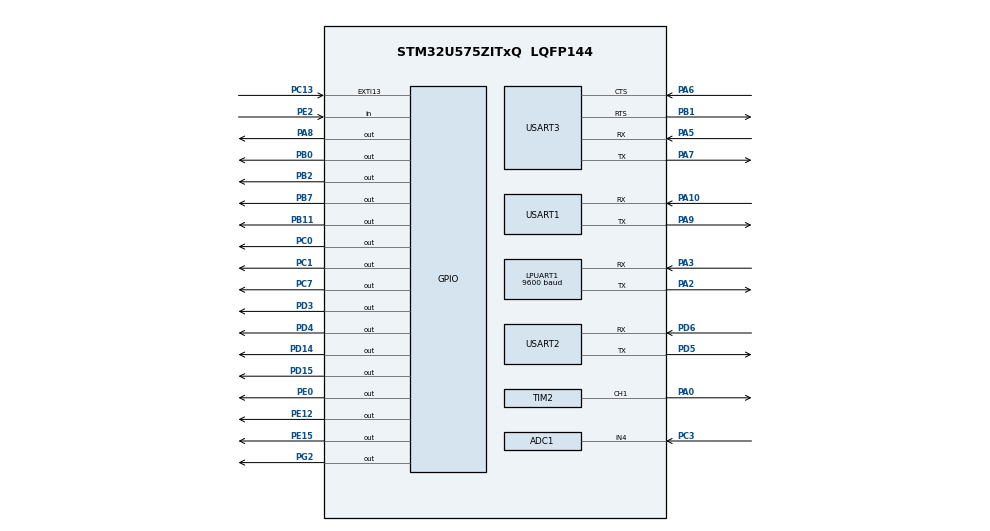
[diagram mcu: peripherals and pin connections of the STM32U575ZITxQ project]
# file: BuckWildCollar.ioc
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ADC1.Channel-1\#ChannelRegularConversion=ADC_CHANNEL_4
ADC1.ContinuousConvMode=ENABLE
ADC1.EnableRegularConversion=ENABLE
ADC1.GainCompensation=0
ADC1.MonitoredBy-1\#ChannelRegularConversion=__NULL
ADC1.NbrOfConversion=1
ADC1.NbrOfConversionFlag=1
ADC1.OffsetNumber-1\#ChannelRegularConversion=ADC_OFFSET_NONE
ADC1.Rank-1\#ChannelRegularConversion=1
ADC1.SamplingTime-1\#ChannelRegularConversion=ADC_SAMPLETIME_5CYCLE
ADC1.master=1
CORTEX_M33_NS.userName=CORTEX_M33
LPUART1.BaudRate=9600
Mcu.Family=STM32U5
Mcu.Name=STM32U575ZITxQ
Mcu.Package=LQFP144
NUCLEO-U575ZI-Q.BUTTON=1
NUCLEO-U575ZI-Q.LD1=true
NUCLEO-U575ZI-Q.LD2=true
NUCLEO-U575ZI-Q.LD3=true
NUCLEO-U575ZI-Q.VCP=false
NVIC.ADC1_IRQn=true\:0\:0\:false\:false\:true\:true\:true\:true
NVIC.EXTI13_IRQn=true\:0\:0\:false\:false\:true\:false\:true\:true
NVIC.LPUART1_IRQn=true\:0\:0\:false\:false\:true\:true\:true\:true
NVIC.PriorityGroup=NVIC_PRIORITYGROUP_3
NVIC.TIM17_IRQn=true\:7\:0\:false\:false\:true\:false\:true\:true
NVIC.TIM2_IRQn=true\:0\:0\:false\:false\:true\:true\:true\:true
NVIC.TimeBase=TIM17_IRQn
NVIC.TimeBaseIP=TIM17
NVIC.USART1_IRQn=true\:0\:0\:false\:false\:true\:true\:true\:true
NVIC.USART2_IRQn=true\:0\:0\:false\:false\:true\:true\:true\:true
NVIC.USART3_IRQn=true\:0\:0\:false\:false\:true\:true\:true\:true
PA0.Signal=S_TIM2_CH1
PA10.Mode=Asynchronous
PA10.Signal=USART1_RX
PA13\ (JTMS/SWDIO).Signal=DEBUG_JTMS-SWDIO
PA14\ (JTCK/SWCLK).Signal=DEBUG_JTCK-SWCLK
PA2.Mode=Asynchronous
PA2.Signal=LPUART1_TX
PA3.Mode=Asynchronous
PA3.Signal=LPUART1_RX
PA5.Mode=Asynchronous
PA5.Signal=USART3_RX
PA6.Mode=CTS_RTS
PA6.Signal=USART3_CTS
PA7.Mode=Asynchronous
PA7.Signal=USART3_TX
PA8.Signal=GPIO_Output
PA9.Mode=Asynchronous
PA9.Signal=USART1_TX
PB0.Signal=GPIO_Output
PB1.Mode=CTS_RTS
PB1.Signal=USART3_RTS
PB11.Signal=GPIO_Output
PB2.Signal=GPIO_Output
PB3\ (JTDO/TRACESWO).Signal=DEBUG_JTDO-SWO
PB7.Signal=GPIO_Output
PC0.Signal=GPIO_Output
PC1.Signal=GPIO_Output
PC13.Signal=GPXTI13
PC14-OSC32_IN\ (PC14).Signal=RCC_OSC32_IN
PC15-OSC32_OUT\ (PC15).Signal=RCC_OSC32_OUT
PC3.Mode=IN4-Single-Ended
PC3.Signal=ADC1_IN4
PC7.Signal=GPIO_Output
PD14.Signal=GPIO_Output
PD15.Signal=GPIO_Output
PD3.Signal=GPIO_Output
PD4.Signal=GPIO_Output
PD5.Mode=Asynchronous
PD5.Signal=USART2_TX
PD6.Mode=Asynchronous
PD6.Signal=USART2_RX
PE0.Signal=GPIO_Output
PE12.Signal=GPIO_Output
PE15.Signal=GPIO_Output
PE2.Signal=GPIO_Input
PG2.Signal=GPIO_Output
PWR.PowerMode=PWR_SMPS_SUPPLY
ProjectManager.HeapSize=0x200
ProjectManager.StackSize=0x400
ProjectManager.TargetToolchain=STM32CubeIDE
RCC.ADCFreq_Value=16000000
RCC.DACCLockSelectionVirtual=RCC_DAC1CLKSOURCE_LSI
RCC.EPOD_VALUE=4000000
RCC.HSE_VALUE=16000000
RCC.HSI48_VALUE=48000000
RCC.HSI_VALUE=16000000
RCC.LSE_VALUE=32768
RCC.LSIDIV_VALUE=32000
RCC.MSI_VALUE=4000000
RCC.USBFreq_Value=48000000
RCC.VCOOutputFreq_Value=516000000
SH.S_TIM2_CH1.0=TIM2_CH1,PWM Generation1 CH1
TIM2.Channel-PWM\ Generation1\ CH1=TIM_CHANNEL_1
TIM2.PeriodNoDither=2000
TIM2.Prescaler=1
TIM2.PulseNoDither_1=1000
USART1.VirtualMode-Asynchronous=VM_ASYNC
USART2.VirtualMode-Asynchronous=VM_ASYNC
USART3.VirtualMode-Asynchronous=VM_ASYNC
VP_ICACHE_VS_ENABLE_ICACHE_MEMORY.Mode=Memoryregions
VP_ICACHE_VS_ICACHE.Mode=DirectMappedCache
VP_LPBAMQUEUE_VS_QUEUE.Mode=QUEUEMODE
VP_LPBAM_VS_SIG1.Mode=SmartRun
VP_LPBAM_VS_SIG4.Mode=LPDMA1
VP_MEMORYMAP_VS_MEMORYMAP.Mode=CurAppReg
VP_NUCLEO-U575ZI-Q_VS_BSP_COMMON.Mode=COMMON
VP_PWR_VS_DBSignals.Mode=DisableDeadBatterySignals
VP_PWR_VS_LPOM.Mode=PowerOptimisation
VP_PWR_VS_SECSignals.Mode=Security/Privilege
VP_PWR_Vdda.Mode=isolationVdda
VP_SYS_VS_tim17.Mode=TIM17
VP_TIM2_VS_ClockSourceINT.Mode=Internal
board=NUCLEO-U575ZI-Q

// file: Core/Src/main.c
/* USER CODE BEGIN Header */

/*
 *
 * BUCK WILD COLLAR
 * buckwildcollars.com
 *
 *
 * Perpetrators:
 * Paul Eickhoff
 *
 */

/* USER CODE END Header */
#include "main.h"
#include "adc.h"
#include "icache.h"
#include "usart.h"
#include "tim.h"
#include "gpio.h"

/* USER CODE BEGIN Includes */

#include <math.h>
#include <stdarg.h>
#include <stdbool.h>
#include <stdint.h>
#include <stdio.h>
#include <stdlib.h>
#include <string.h>

#include <m_motor.h>

// UART Buffers
#define BUFFER_SIZE 128
#define UART_DELAY 10
#define UART_GPS_DELAY 1000

// GPS
#define RX_LINE_MAX 128
#define RX_QUEUE_LINES 16
#define MIN_GPS_SIGNALS 3

#define MAX_FORCE 12000
#define MIN_FORCE 5000
#define IDEAL_FORCE 9000
#define IDEAL_BOUNDS 2000

static uint8_t rx_byte;

static char build_line[RX_LINE_MAX];
static uint16_t build_idx = 0;

static char line_q[RX_QUEUE_LINES][RX_LINE_MAX];
static volatile uint8_t q_head = 0, q_tail = 0;

static volatile uint32_t lines_ok = 0;
static volatile uint32_t lines_drop = 0;

typedef struct {
    char utc[16];
    char prev_utc[16];
    char dmy[16];
    float lat;
    float lon;
    int sats;
    float hdop;
    int valid;
} gps_data_t;

static gps_data_t gps;

// END GPS

typedef enum{
	init,
	gps_receive,
	imu_receive,
	force_receive,
	motor_control,
	gps_transmit,
	sleep
} active_state;

struct bno055{
	int eul_x, eul_y, eul_z;
	int lin_x, lin_y, lin_z;
	int mag_x, mag_y, mag_z;
	int temperature;
};

/*
 * UART Buffers (The Flash Devourers!)
 */

char user_command[BUFFER_SIZE] = "menu";

uint8_t storage_buffer[BUFFER_SIZE] = "Initial Storage Buffer.";
const uint8_t empty_buffer[BUFFER_SIZE] = ""; // Used to clear buffers with memcpy. Also is an "impostor buffer".
uint8_t return_buffer[1] = "\0";
uint8_t return_buffer_flag = 0;

uint8_t uart1_tx_buffer[BUFFER_SIZE] = "Initial TX1 String\r\n";
uint8_t uart1_rx_buffer[BUFFER_SIZE] = "menu"; // "Initial RX1 String\r\n";
uint8_t uart2_tx_buffer[BUFFER_SIZE] = "Initial TX2 String\r\n";
uint8_t uart2_rx_buffer[BUFFER_SIZE] = "Initial RX2 String\r\n";
uint8_t uart3_tx_buffer[BUFFER_SIZE] = "Initial TX3 String\r\n";
uint8_t uart3_rx_buffer[BUFFER_SIZE] = "Initial RX3 String\r\n";

uint8_t lpuart1_tx_buffer[BUFFER_SIZE] = "Initial lpTX1 String\r\n";
uint8_t lpuart1_rx_buffer[BUFFER_SIZE] = "Initial lpRX1 String\r\n";

//
uint8_t user_button = 0;
uint8_t reset = 0;

// Prototypes
static void print(const char *fmt, ...);
static int Get_ADC();

static int queue_push(const char *s);
static int queue_pop(char *out);
static void parse_nmea(char *line);
static float nmea_to_deg(const char *s);

// Functions

static void print(const char *fmt, ...) {
	/*
	 * Print message through USART1 channel
	 * Viewable in the in-built CubeIDE terminal
	 *
	 * Shamelessly stolen from the Formula Hybrid team... who probably stole it from someone else.
	 */

  static char buffer[256];
  va_list args;
  va_start(args, fmt);
  vsnprintf(buffer, sizeof(buffer), fmt, args);
  va_end(args);

  int len = strlen(buffer);
  HAL_UART_Transmit(&huart1, (uint8_t *)buffer, len, -1);
  return;
}

/*
 * Force Sensor
 */

static int Get_ADC(){
	//TODO: Low Add Calibration for Max / Min
	// Get ADC value and put into global variable force_resistor

	// Enable Pin PC1
	GPIOC->ODR |= (1<<1);

	// ADC Acquire
	int adc_value;
	int force_resistor;

	HAL_ADC_Start(&hadc1); // Start polling
	HAL_ADC_PollForConversion(&hadc1, 1); // Check Timeout or switch to IT based
	adc_value = HAL_ADC_GetValue(&hadc1); // Take ADC Value
	HAL_ADC_Stop(&hadc1); // Stop polling

	force_resistor = adc_value; // TODO: Convert from adc_resistor to "resistance" value.

	GPIOC->ODR &= (0<<1); // Shut Off Pin PC1

	return force_resistor;
}

void HAL_ADC_ConvCpltCallback(ADC_HandleTypeDef *hadc) {
	return; // ADC callback for later usage
}

/*
 * Inertial Measurement Unit - BNO055
 *
 * BNO055 Notes
 * eul_x: 0->360
 * eul_y: -90->90
 * eul_z: -180->180
 * lin_x: Z-axis
 * lin_y: X-axis
 * lin_z: Y-axis
 *
 * Send Message:
 * Bytes: Start Byte, Read, Reg addr, Length
 *
 * Receive Message:
 * Bytes: ResponseByte, length, Data 1, ..., Data N - (Data 1 at Byte 3, Data N at Byte N+2)
 * REMEMBER: BNO055 is little-endian
 *
 * TODO: Clean up code and remove hard-coded test messages
 * TODO: Make the bno055 imu_read into a function
 */

void bno_enable(){
	/*
	 * Must be called to enable the BNO055 in NDOF mode
	 */
	uint8_t test_message[5];
	test_message[0] = 170;
	test_message[1] = 0x00;
	test_message[2] = 0x3D;
	test_message[3] = 0x01;
	test_message[4] = 0x0C; // xxxx1100b for NDOF selection mode.
	memcpy(uart2_tx_buffer, test_message, 5);
	// Enable BNO055
	HAL_UART_Transmit(&huart2, uart2_tx_buffer, 5, UART_DELAY);
	HAL_UART_Receive(&huart2, uart2_rx_buffer, BUFFER_SIZE, UART_DELAY);
	// HAL_UART_Transmit(&huart1, uart2_rx_buffer, BUFFER_SIZE, UART_DELAY);
	return;
}

void bno_write_units(){
	/*
	 * Write a message to the BNO055
	 * TODO: Entire Function (not necessary if we are writing 0x00 since that is reset)
	 * We should be able to initialize the test_message in one line at least
	 */
	uint8_t test_message[BUFFER_SIZE];
	test_message[0] = 170;
	test_message[1] = 0x00;
	test_message[2] = 0x3B;
	test_message[3] = 0x01;
	test_message[4] = 0b00000000;
	// 0x00 = Celsius, Degrees, DPS, m/s^2:
	// 1LSB, 16LSB, 16LSB, 100LSB
	// Pitch:
	memcpy(uart2_tx_buffer, test_message, BUFFER_SIZE);
	print("\r\n");
	HAL_UART_Transmit(&huart2, uart2_tx_buffer, 5, 10);
	HAL_UART_Receive(&huart2, uart2_rx_buffer, BUFFER_SIZE, 10);

	return;
}

uint32_t bno_read(uint8_t address){
	// Read Time @32 Bytes: ~2.5ms
	// Return 2 bytes of data
	uint8_t test_message[BUFFER_SIZE];
	uint16_t combined = 0;
	test_message[0] = 170; // 0xAA: Start Byte
	test_message[1] = 1; // 0x01: Read
	test_message[2] = address; // Register Address
	test_message[3] = 2; // Length
	memcpy(uart2_tx_buffer, test_message, BUFFER_SIZE); // Copy message to tx2 buffer

	HAL_UART_Transmit(&huart2, uart2_tx_buffer, 4, 1);
	HAL_UART_Receive(&huart2, uart2_rx_buffer, BUFFER_SIZE, 5); // Receive Data

	combined = (uart2_rx_buffer[2] << 8 | uart2_rx_buffer[3]);

// 	// Print "combined", which is the MSB and LSB put together to get the full number
//	if (combined != 0){
//		print("%d", combined);
//		print("\r\n");
//	}

//	 // Print Raw Buffer Values
//	 for (int i=0; i<BUFFER_SIZE; i++){
//		 if (uart2_rx_buffer[i] < 0x10){
//			 print("0%x", uart2_rx_buffer[i]);
//		 }
//		 else{
//			 print("%x", uart2_rx_buffer[i]);
//		 }
//	 }
//	 print("\r\n");

	memcpy(uart2_rx_buffer, empty_buffer, BUFFER_SIZE);
	return combined;
}

int bno_read_to_buffer(uint8_t *buffer, uint8_t address, uint8_t length){
	// Read Time @32 Bytes: ~2.5ms
	memcpy(buffer, empty_buffer, BUFFER_SIZE);
	uint8_t test_message[BUFFER_SIZE];
	test_message[0] = 170; // 0xAA: Start Byte
	test_message[1] = 1; // 0x01: Read
	test_message[2] = address; // Register Address
	test_message[3] = length; // Length
	memcpy(uart2_tx_buffer, test_message, BUFFER_SIZE); // Copy message to tx2 buffer

	HAL_UART_Transmit(&huart2, uart2_tx_buffer, 4, 10);
	HAL_UART_Receive(&huart2, buffer, BUFFER_SIZE, 10); // Receive Data
	if (buffer[0] == 0xEE){
		return 0;
	}
	return 1;
}

void print_hex(uint8_t *buffer, uint8_t length){
	if (buffer[0] == 0xEE){
		return; // Error Code
	}
	for (int i=0; i<length; i++){
		if (buffer[i] < 0x10){
			print("0%x", buffer[i]);
		}
		else{
			print("%x", buffer[i]);
		}
	}
}

void HAL_UART_RxCpltCallback(UART_HandleTypeDef *huart)
 {
   if (huart->Instance == LPUART1)
   {
     // Grab received byte and
     uint8_t b = rx_byte;

     // Build a line until '\n' (NMEA typical end is "\r\n")
     if (b == '\r' || b == '\n')
     {
         if (build_idx > 0)
         {
             build_line[build_idx] = '\0';

             if (queue_push(build_line))
                 lines_ok++;
             else
                 lines_drop++;

             build_idx = 0;
         }
     }
     else
     {
         if (build_idx < RX_LINE_MAX - 1)
             build_line[build_idx++] = (char)b;
         else
         {
             build_idx = 0;
             lines_drop++;
         }
     }

     // Re-arm next byte
     HAL_UART_Receive_IT(&hlpuart1, &rx_byte, 1);
   }
 }

 static int queue_push(const char *s)
 {
   uint8_t next = (uint8_t)((q_head + 1) % RX_QUEUE_LINES);
   if (next == q_tail) return 0; // full

   strncpy(line_q[q_head], s, RX_LINE_MAX);
   line_q[q_head][RX_LINE_MAX - 1] = '\0';
   q_head = next;
   return 1;
 }

 static int queue_pop(char *out)
 {
   if (q_tail == q_head) return 0; // empty

   strncpy(out, line_q[q_tail], RX_LINE_MAX);
   out[RX_LINE_MAX - 1] = '\0';
   q_tail = (uint8_t)((q_tail + 1) % RX_QUEUE_LINES);
   return 1;
 }

 static float nmea_to_deg(const char *s)
 {
     if (!s || !*s) return 0.0f;

     float v = (float)atof(s);
     int deg = (int)(v / 100.0f);
     float min = v - (deg * 100.0f);
     return deg + (min / 60.0f);
 }

 static void parse_nmea(char *line)
 {
     char *f[20] = {0};
     int n = 0;

     char *tok = strtok(line, ",");
     while (tok && n < 20) {
         f[n++] = tok;
         tok = strtok(NULL, ",");
     }

     if (n == 0) return;

     if (!strncmp(f[0], "$GNRMC", 6) || !strncmp(f[0], "$GPRMC", 6))
     {
         if (n > 6) {
             strncpy(gps.utc, f[1] ? f[1] : "", sizeof(gps.utc)-1);
             gps.utc[sizeof(gps.utc)-1] = '\0';

             strncpy(gps.dmy, f[8] ? f[8] : "", sizeof(gps.dmy)-1);
             gps.dmy[sizeof(gps.dmy)-1] = '\0';

             gps.valid = (f[2] && f[2][0] == 'A');

             gps.lat = nmea_to_deg(f[3]);
             if (f[4] && f[4][0] == 'S') gps.lat = -gps.lat;

             gps.lon = nmea_to_deg(f[5]);
             if (f[6] && f[6][0] == 'W') gps.lon = -gps.lon;
         }
     }
     else if (!strncmp(f[0], "$GNGGA", 6) || !strncmp(f[0], "$GPGGA", 6))
     {
         if (n > 8) {
             gps.sats = f[7] ? atoi(f[7]) : 0;
             gps.hdop = f[8] ? (float)atof(f[8]) : 0.0f;
         }
     }
 }

 int check_for_return(){
	 /*
	  *
	  * Allow code to run until enter is returned.
	  *
	  * CAUTION: The USART1 RX port will be in use. This works by both generating and waiting for the return signal to be an "all-in-one" command.
	  * Note: The huart1 rx port may cause issues by creating interrupts where you don't want them to be.
	  *
	  * Returns 0 if no return
	  * Returns 1 if return is detected (use in if statement to finish any processes before going back to menu)
	  */

	 // TODO: There has GOT to be a better way. Current method: setup the interrupt for the global 1-byte return buffer. Loop through code.
	 // Code comes back to return check where you can if "enter" byte is received.
	 // Perhaps using some kind of interrput from the good 'ol EXTI registers?

	 if (return_buffer[0] == '\r'){
		 return_buffer[0] = '\0'; // Reset buffer for next usage.
		 HAL_UART_AbortReceive(&huart1); // Abort UART receive to clear up the buffer.
		 strcpy(user_command, "menu");
		 return 1;
	 }
	 HAL_UART_Receive_IT(&huart1, return_buffer, BUFFER_SIZE);
	 return 0;
 }

 void wait_until_return(){
	 /*
	  * Pause until enter is returned.
	  */

	 return_buffer[0] = '\0';
	 while (1){
		 HAL_UART_Receive(&huart1, return_buffer, 1, 10);
		 if (return_buffer[0] == 13){
			 return_buffer[0] = '\0'; // Reset buffer for next usage.
			 strcpy(user_command, "menu");
			 return;
		 }
	 }
 }

/* USER CODE END Includes */

void SystemClock_Config(void);
static void SystemPower_Config(void);

int main(void)
{

  /* MCU Configuration--------------------------------------------------------*/

  /* Reset of all peripherals, Initializes the Flash interface and the Systick. */
  HAL_Init();

  /* Configure the System Power */
  SystemPower_Config();

  /* Configure the system clock */
  SystemClock_Config();

  /* Initialize all configured peripherals */
  MX_GPIO_Init();
  MX_ICACHE_Init();
  MX_ADC1_Init();
  MX_LPUART1_UART_Init();
  MX_USART2_UART_Init();
  MX_USART3_UART_Init();
  MX_TIM2_Init();
  MX_USART1_UART_Init();

  /* Initialize leds */
  BSP_LED_Init(LED_GREEN);
  BSP_LED_Init(LED_BLUE);
  BSP_LED_Init(LED_RED);

  BSP_LED_On(LED_BLUE);
  BSP_LED_On(LED_RED);

  /* Initialize USER push-button, will be used to trigger an interrupt each time it's pressed.*/
  BSP_PB_Init(BUTTON_USER, BUTTON_MODE_EXTI);

  /* Infinite loop */
  /* USER CODE BEGIN WHILE */

	const char *commands[] = {
		"menu",
		"help",

		"active",
		"sleep",

		"gps_receive",
		"gps_transmit",
		"sense_bno055",
		"motor_adjust",

		"demo_active",
		"demo_adc",
		"demo_bno055",
		"demo_maxm10s",
		"demo_motor",
		"demo_lock",
		"demo_stx3",
		"demo_system",

		"power_peripherals",
		"power_sleep"
	};

  const char *text_menu[7] = {
  "░████████                         ░██          ░██       ░██ ░██ ██        ░██\r\n",
  "░██    ░██                        ░██          ░██       ░██     ██        ░██\r\n",
  "░██    ░██  ░██    ░██  ░███████  ░██    ░██   ░██  ░██  ░██ ░██ ██  ░████████\r\n",
  "░████████   ░██    ░██ ░██    ░██ ░██   ░██    ░██ ░████ ░██ ░██ ██ ░██    ░██\r\n",
  "░██     ░██ ░██    ░██ ░██        ░███████     ░██░██ ░██░██ ░██ ██ ░██    ░██\r\n",
  "░██     ░██ ░██   ░███ ░██    ░██ ░██   ░██    ░████   ░████ ░██ ██ ░██   ░███\r\n",
  "░█████████   ░█████░██  ░███████  ░██    ░██   ░███     ░███ ░██ ██  ░█████░██\r\n"
  };

  print("\r\n");
  for(int i=0; i< sizeof(text_menu) / sizeof(text_menu[0]); i++)
  {
	  print(text_menu[i]);
  }

  struct bno055 imu;
  int adc_value;
  active_state state = 0;

  Motor_Initialize();
  Lock_Initialize();

  while(1){

	  user_button = BSP_PB_GetState(BUTTON_USER);

	  if (strcmp(user_command, "menu") == 0)
	  {
		  // Menu Options
		  memcpy(uart1_rx_buffer, empty_buffer, BUFFER_SIZE);
		  print("\r\n");
		  print(">> "); // CLI line

		  uint8_t flag_uart_enter = 1;
		  uint8_t i = 0;
		  uint8_t rx_byte[1];

		  while(flag_uart_enter){
			  // Yes I KNOW THIS IS UGLY OKAY???? BUT IT WORKS... I mean I'm passing an array because the stupid HAL doesn't do single bit UART sends.
			  rx_byte[0] = 0;
			  HAL_UART_Receive(&huart1, rx_byte, 1, 10);
			  HAL_UART_Transmit_IT(&huart1, rx_byte, 1);

			  if (rx_byte[0] != 0)
			  {
				  // Check if the byte we just received is enter to return to menu.
				  if (rx_byte[0] == 13) // ASCII Enter = 13
				  {
					  flag_uart_enter = 0;
				  }
				  else{
					  // Copy byte into buffer
					  // Exit if maximum i value is reached
					  uart1_rx_buffer[i] = rx_byte[0];
					  if (i < BUFFER_SIZE - 1) {i++;}
					  else {flag_uart_enter = 0;}
				  }
			  }
		  }
		  memcpy(user_command, uart1_rx_buffer, BUFFER_SIZE); // Copy uint8_t buffer into char type
		  print("\r\n");
	  }
	  else if (strcmp(user_command, "help") == 0)
	  {
		  // TODO: Add optional variables... maybe with sttok with a way to check for additional inputs... nah not making a full command system ngl
		  print("Available Commands:\r\n");
		  print(
				  "active\r\n"
				  "menu\r\n"
				  "help\r\n"
				  "sleep\r\n"

				  "demo_adc\r\n"
				  "demo_bno055\r\n"
				  "demo_lock\r\n"
				  "demo_maxm10s\r\n"

				  "demo_motor\r\n"
				  "demo_motorlock\r\n"

				  "gps_receive\r\n"
				  "power_peripherals\r\n"
				  "power_normal\r\n"
				  "contract\r\n"
				  "expand\r\n"
				  );

		wait_until_return();

	  }
	  else if (strcmp(user_command, "active") == 0){
		  /*
		   * Activate main code
		   * State machine inside a state machine
		   * Only a reset will exit this mode.
		   */

		  if (state == init){
			  print("init\r\n");
			  state = gps_receive;
		  }
		  // TODO: Verify this code
		  else if(state == gps_receive){
			  print("gps_receive\r\n");
//			  while(gps.sats < 5){
//		    	  HAL_UART_Receive_IT(&hlpuart1, &rx_byte, 1);
//			      char line[RX_LINE_MAX];
//			      while (queue_pop(line))
//			      {
//			          parse_nmea(line);
//			          char out[128];
//			          int lat_i = (int)(gps.lat * 1000000);
//			          int lon_i = (int)(gps.lon * 1000000);
//			          int hdop_i = (int)(gps.hdop * 100);
//			          int len = snprintf(out, sizeof(out),
//			              "UTC:%s DMY:%s LATi:%d LONi:%d SAT:%d HDOPi:%d VALID:%d\r\n",
//			              gps.utc, gps.dmy, lat_i, lon_i, gps.sats, hdop_i, gps.valid);
//			          HAL_UART_Transmit(&huart1, (uint8_t*)out, len, 100);
//			      }
//			      HAL_Delay(1);
//			  }
			  state = imu_receive;
		  }
		  else if(state == imu_receive){
			  // TODO: Add BNO055
			  print("imu_receive\r\n");
			  state = force_receive;
		  }
		  else if(state == force_receive){
			  print("force_receive\r\n");
			  adc_value = Get_ADC();

			  if (adc_value > MAX_FORCE || adc_value < MIN_FORCE){
				  state = motor_control;
			  }
			  else{
				  state = sleep;
			  }
		  }
		  else if(state == motor_control){
			  // TODO: SUPER JANK CODE
			  print("motor_control\r\n");
			  int msg = 0;
			  while ((adc_value < (IDEAL_FORCE - IDEAL_BOUNDS) || adc_value > (IDEAL_FORCE + IDEAL_BOUNDS))){
				  adc_value = Get_ADC();
				  print("ADC: %d\r\n", adc_value);
				  if (msg > 100){
					  // Lock cooldown
					  // Reset messages
					  Lock_SetStatus(0);
					  Motor_SetDirection(MOTOR_STOP);
					  Motor_SetSpeed(0);
					  HAL_Delay(10000);
					  msg = 0;
				  }

				  if (adc_value > (IDEAL_FORCE + IDEAL_BOUNDS)){
					  Lock_SetStatus(1);
					  Motor_SetDirection(MOTOR_CW);
					  Motor_SetSpeed(1);
					  HAL_Delay(25);
				  }
				  else if (adc_value < MIN_FORCE - IDEAL_BOUNDS){
					  Lock_SetStatus(1);
					  Motor_SetDirection(MOTOR_CCW);
					  Motor_SetSpeed(1);
					  HAL_Delay(25);
				  }
				  msg++;
			  }
			  Lock_SetStatus(0);
			  Motor_SetDirection(MOTOR_STOP);
			  Motor_SetSpeed(0);
			  state = gps_transmit;
		  }
		  else if (state == gps_transmit){
			  // TODO
			  print("gps_transmit\r\n");
			  state = sleep;
		  }
		  else if (state == sleep){
			  print("sleep\r\n");
			  HAL_Delay(5000);
			  state = gps_receive;
		  }

	  }

	  else if (strcmp(user_command, "demo_adc") == 0)
	  {
		  adc_value = Get_ADC();
		  print("Force Sensor: %d\r\n", adc_value);
		  HAL_Delay(100);

		  check_for_return();
	  }
	  else if (strcmp(user_command, "demo_bno055") == 0)
	  {
		  bno_enable();
		  // Data from BNO055 is represented as int16_t. Must be typecast.
		  // Things to watch for: Incoming byte order, data size (1 vs. 2 bytes usually)

		  if (bno_read_to_buffer(storage_buffer, 0x1A, 2) == 1){
			  imu.eul_x = (int16_t)(storage_buffer[3] << 8 | storage_buffer[2]);
		  }
		  if (bno_read_to_buffer(storage_buffer, 0x1C, 2) == 1){
			  imu.eul_y = (int16_t)(storage_buffer[3] << 8 | storage_buffer[2]);
		  }
		  if (bno_read_to_buffer(storage_buffer, 0x1E, 2) == 1){
			  imu.eul_z = (int16_t)(storage_buffer[3] << 8 | storage_buffer[2]);
		  }

		  if (bno_read_to_buffer(storage_buffer, 0x28, 2) == 1){
			  imu.lin_x = (int16_t)(storage_buffer[3] << 8 | storage_buffer[2]);
		  }
		  if (bno_read_to_buffer(storage_buffer, 0x2A, 2) == 1){
			  imu.lin_y = (int16_t)(storage_buffer[3] << 8 | storage_buffer[2]);
		  }
		  if (bno_read_to_buffer(storage_buffer, 0x2C, 2) == 1){
			  imu.lin_z = (int16_t)(storage_buffer[3] << 8 | storage_buffer[2]);
		  }

		  if (bno_read_to_buffer(storage_buffer, 0x34, 1) == 1){
			  imu.temperature = (int16_t)(storage_buffer[2]);
		  }

		  if (bno_read_to_buffer(storage_buffer, 0x2A, 2) == 1){
			  imu.mag_x = (int16_t)(storage_buffer[3] << 8 | storage_buffer[2]);
		  }
		  if (bno_read_to_buffer(storage_buffer, 0x28, 2) == 1){
			  imu.mag_y = (int16_t)(storage_buffer[3] << 8 | storage_buffer[2]);
		  }

		  if (bno_read_to_buffer(storage_buffer, 0x34, 1) == 1){
			  imu.mag_z = (int16_t)(storage_buffer[2]);
		  }

		  imu.eul_x /= 16;
		  imu.eul_y /= 16;
		  imu.eul_z /= 16;
		  imu.lin_x /=  1;
		  imu.lin_y /= 1;
		  imu.lin_z /= 1;
		  imu.temperature *= 1;

		  print("lX: %d, lY: %d, lZ: %d, eX: %d, eY: %d, eZ: %d, Temp: %d\r\n", imu.lin_y, imu.lin_x, imu.lin_z, imu.eul_x, imu.eul_y, imu.eul_z, imu.temperature);

		  check_for_return();
	  }
	  else if (strcmp(user_command, "demo_maxm10s") == 0){
    	  HAL_UART_Receive_IT(&hlpuart1, &rx_byte, 1);
	      char line[RX_LINE_MAX];

	      while (queue_pop(line))
	      {
	          parse_nmea(line);

	          char out[128];

	          int lat_i = (int)(gps.lat * 1000000);
	          int lon_i = (int)(gps.lon * 1000000);
	          int hdop_i = (int)(gps.hdop * 100);

	          int len = snprintf(out, sizeof(out),
	              "DMY: %s, UTC:%s, LATi:%d, LONi:%d, SAT:%d, HDOPi:%d, VALID:%d\r\n",
				  gps.dmy, gps.utc, lat_i, lon_i, gps.sats, hdop_i, gps.valid);
	//          int len = snprintf(out, sizeof(out),
	//                             "UTC:%s LAT:%.6f LON:%.6f SAT:%d HDOP:%.2f VALID:%d\r\n",
	//                             gps.utc, gps.lat, gps.lon, gps.sats, gps.hdop, gps.valid);

	          HAL_UART_Transmit(&huart1, (uint8_t*)out, len, 100);
	      }

	      HAL_Delay(1);

	      check_for_return();
	  }
	  else if (strcmp(user_command, "gps_receive") == 0){
		  // GPS demo code for recording .txt file
		  int msg_num = 1;

		  while(!check_for_return()){
			  // ADC
			  adc_value = Get_ADC();

			  //GPS
	    	  HAL_UART_Receive_IT(&hlpuart1, &rx_byte, 1);
		      char line[BUFFER_SIZE];
		      while (queue_pop(line))
		      {

		          parse_nmea(line);
		          char out[128];
		          int lat_i = (int)(gps.lat * 1000000);
		          int lon_i = (int)(gps.lon * 1000000);

		          int hdop_i = (int)(gps.hdop * 100);
		          int len = snprintf(out, sizeof(out), "5,%d,13,0,%s,%s,%d,%d,%d,%d\r\n", msg_num, gps.dmy, gps.utc, hdop_i, adc_value, lon_i, lat_i);

			      HAL_UART_Transmit(&huart1, (uint8_t*)out, len, 100);

				  msg_num++;
		      }
		  }

	  }
	  else if (strcmp(user_command, "demo_motor") == 0){
		  Lock_SetStatus(1);
		  Motor_SetDirection(MOTOR_CW);
		  Motor_SetSpeed(0.5);
		  HAL_Delay(2000);

		  Motor_SetSpeed(0);
		  HAL_Delay(200);

		  Motor_SetDirection(MOTOR_CCW);
		  Motor_SetSpeed(0.5);
		  HAL_Delay(2000);

		  Motor_SetSpeed(0);
		  HAL_Delay(200);

		  if (check_for_return() == 1){
			  Motor_SetSpeed(0);
			  Lock_SetStatus(0);
		  }
	  }
	  else if (strcmp(user_command, "demo_motorlock") == 0){
		  Motor_SetDirection(MOTOR_CCW);
		  Motor_SetSpeed(1);
		  Lock_SetStatus(1);

		  HAL_Delay(2000);
		  Motor_SetDirection(MOTOR_CCW);
		  Motor_SetSpeed(0);
		  Lock_SetStatus(0);

		  HAL_Delay(6000);

		  if (check_for_return() == 1){
			  Motor_SetSpeed(0);
			  Lock_SetStatus(0);
		  }
	  }
	  else if (strcmp(user_command, "demo_lock") == 0){
		  Lock_SetStatus(1);
		  HAL_Delay(1000);
		  Lock_SetStatus(0);
		  HAL_Delay(1000);

		  if (check_for_return() == 1){
			  Motor_SetSpeed(0);
			  Lock_SetStatus(0);
		  }
	  }
	  else if (strcmp(user_command, "power_peripherals") == 0){
		  Lock_SetStatus(1);
		  Motor_SetSpeed(1);
		  Motor_SetDirection(MOTOR_CCW);
		  HAL_Delay(10);
		  if (check_for_return() == 1){
			  Motor_SetSpeed(0);
			  Lock_SetStatus(0);
		  }
	  }
	  else if (strcmp(user_command, "power_normal") == 0){
		  wait_until_return();
	  }
	  else if (strcmp(user_command, "test_mode") == 0){
	  }
	  else if (strcmp(user_command, "contract") == 0){
		  Motor_SetDirection(MOTOR_CCW);
		  Motor_SetSpeed(1);
		  Lock_SetStatus(1);

//		  HAL_Delay(1000);
//		  Motor_SetDirection(MOTOR_CCW);
//		  Motor_SetSpeed(0);
//		  Lock_SetStatus(0);
//
//		  HAL_Delay(3000);

		  if (check_for_return() == 1){
			  Motor_SetDirection(MOTOR_STOP);
			  Motor_SetSpeed(0);
			  Lock_SetStatus(0);
		  }
	  }
	  else if (strcmp(user_command, "expand") == 0){
		  Motor_SetDirection(MOTOR_CW);
		  Motor_SetSpeed(1);
		  Lock_SetStatus(1);

//		  HAL_Delay(1000);
//		  Motor_SetDirection(MOTOR_CW);
//		  Motor_SetSpeed(0);
//		  Lock_SetStatus(0);
//
//		  HAL_Delay(3000);

		  if (check_for_return() == 1){
			  Motor_SetDirection(MOTOR_STOP);
			  Motor_SetSpeed(0);
			  Lock_SetStatus(0);
		  }
	  }
	  else{
		  // Set user command to menu.
		  strcpy(user_command, "menu");
		  BSP_LED_Toggle(LED_RED);
		  print("Error: Unknown Command.\r\n");
	  }

	  // Final Modifications
  }

    /* USER CODE END WHILE */

}

void SystemClock_Config(void)
{
  RCC_OscInitTypeDef RCC_OscInitStruct = {0};
  RCC_ClkInitTypeDef RCC_ClkInitStruct = {0};

  /** Configure the main internal regulator output voltage
  */
  if (HAL_PWREx_ControlVoltageScaling(PWR_REGULATOR_VOLTAGE_SCALE4) != HAL_OK)
  {
    Error_Handler();
  }

  /** Initializes the CPU, AHB and APB buses clocks
  */
  RCC_OscInitStruct.OscillatorType = RCC_OSCILLATORTYPE_HSI|RCC_OSCILLATORTYPE_MSI;
  RCC_OscInitStruct.HSIState = RCC_HSI_ON;
  RCC_OscInitStruct.HSICalibrationValue = RCC_HSICALIBRATION_DEFAULT;
  RCC_OscInitStruct.MSIState = RCC_MSI_ON;
  RCC_OscInitStruct.MSICalibrationValue = RCC_MSICALIBRATION_DEFAULT;
  RCC_OscInitStruct.MSIClockRange = RCC_MSIRANGE_4;
  RCC_OscInitStruct.PLL.PLLState = RCC_PLL_NONE;
  if (HAL_RCC_OscConfig(&RCC_OscInitStruct) != HAL_OK)
  {
    Error_Handler();
  }

  /** Initializes the CPU, AHB and APB buses clocks
  */
  RCC_ClkInitStruct.ClockType = RCC_CLOCKTYPE_HCLK|RCC_CLOCKTYPE_SYSCLK
                              |RCC_CLOCKTYPE_PCLK1|RCC_CLOCKTYPE_PCLK2
                              |RCC_CLOCKTYPE_PCLK3;
  RCC_ClkInitStruct.SYSCLKSource = RCC_SYSCLKSOURCE_MSI;
  RCC_ClkInitStruct.AHBCLKDivider = RCC_SYSCLK_DIV1;
  RCC_ClkInitStruct.APB1CLKDivider = RCC_HCLK_DIV1;
  RCC_ClkInitStruct.APB2CLKDivider = RCC_HCLK_DIV1;
  RCC_ClkInitStruct.APB3CLKDivider = RCC_HCLK_DIV1;

  if (HAL_RCC_ClockConfig(&RCC_ClkInitStruct, FLASH_LATENCY_0) != HAL_OK)
  {
    Error_Handler();
  }
}

/**
  * @brief Power Configuration
  * @retval None
  */
static void SystemPower_Config(void)
{

  /*
   * Disable the internal Pull-Up in Dead Battery pins of UCPD peripheral
   */
  HAL_PWREx_DisableUCPDDeadBattery();

  /*
   * Switch to SMPS regulator instead of LDO
   */
  if (HAL_PWREx_ConfigSupply(PWR_SMPS_SUPPLY) != HAL_OK)
  {
    Error_Handler();
  }
}

void HAL_TIM_PeriodElapsedCallback(TIM_HandleTypeDef *htim)
{
  if (htim->Instance == TIM17)
  {
    HAL_IncTick();
  }
}

void Error_Handler(void)
{
  /* USER CODE BEGIN Error_Handler_Debug */
  /* User can add his own implementation to report the HAL error return state */
  __disable_irq();
  while (1)
  {
	  print("YOU DIED\n");
	  print("Press any key to respawn.\n");
  }
  /* USER CODE END Error_Handler_Debug */
}
